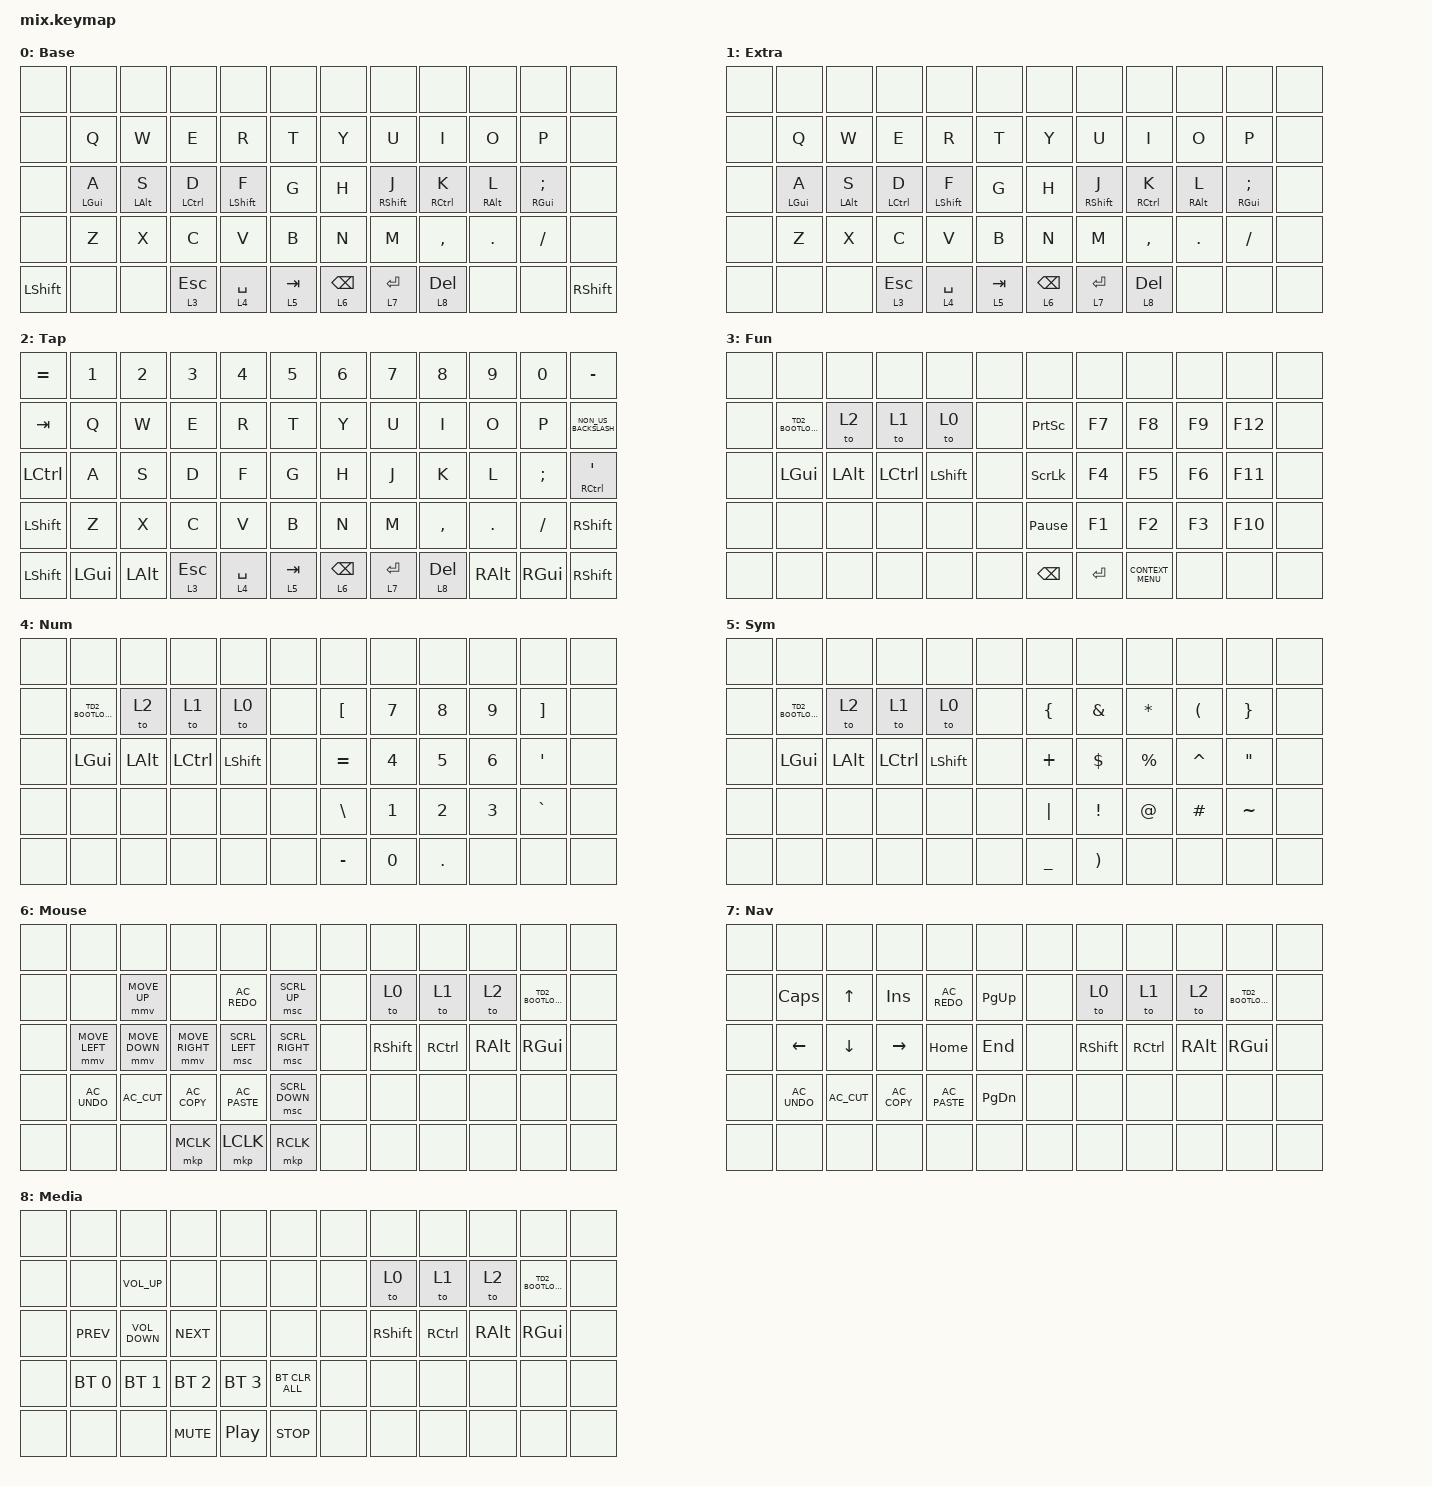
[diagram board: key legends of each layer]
/*
 * Copyright (c) 2020 The ZMK Contributors
 *
 * SPDX-License-Identifier: MIT
 */

#include <behaviors.dtsi>
#include <dt-bindings/zmk/bt.h>
#include <dt-bindings/zmk/keys.h>
#include <dt-bindings/zmk/pointing.h>

#define ZMK_POINTING_DEFAULT_SCRL_VAL 40

/ {
    combos { compatible = "zmk,combos"; };

    behaviors {
        encoder_sc: encoder_sc {
            compatible = "zmk,behavior-sensor-rotate-var";
            label = "ENCODER_SC";
            #sensor-binding-cells = <2>;
            bindings = <&msc>, <&msc>;

            tap-ms = <40>;
        };

        ONLY_HOLD_TAP: ONLY_HOLD_TAP {
            compatible = "zmk,behavior-hold-tap";
            label = "ONLY_HOLD_TAP";
            bindings = <&kp>, <&kp>;

            #binding-cells = <2>;
            tapping-term-ms = <200>;
            flavor = "tap-preferred";
            require-prior-idle-ms = <125>;
            quick-tap-ms = <175>;
        };

        L_HRM: L_HRM {
            compatible = "zmk,behavior-hold-tap";
            label = "L_HRM";
            bindings = <&kp>, <&kp>;

            #binding-cells = <2>;
            tapping-term-ms = <280>;
            quick-tap-ms = <175>;
            require-prior-idle-ms = <150>;
            flavor = "balanced";
            hold-trigger-key-positions = <6 7 8 9 10 11 18 19 20 21 22 23 30 31 32 33 34 35 42 43 44 45 46 47 55 56 57 58 59 54>;
            hold-trigger-on-release;
        };

        R_HRM: R_HRM {
            compatible = "zmk,behavior-hold-tap";
            label = "R_HRM";
            bindings = <&kp>, <&kp>;

            #binding-cells = <2>;
            tapping-term-ms = <280>;
            quick-tap-ms = <175>;
            require-prior-idle-ms = <150>;
            flavor = "balanced";
            hold-trigger-key-positions = <0 1 2 3 4 5 12 13 14 15 16 17 24 25 26 27 28 29 36 37 38 39 40 41 48 49 50 51 52 53>;
            hold-trigger-on-release;
        };

        TD2_BOOTLOADER: TD2_BOOTLOADER {
            compatible = "zmk,behavior-tap-dance";
            label = "TD2_BOOTLOADER";
            #binding-cells = <0>;
            bindings = <&none>, <&bootloader>;
        };
    };

    keymap {
        compatible = "zmk,keymap";

        Base {
            display-name = "Base";
            bindings = <
&none           &none              &none              &none                  &none                &none      &none            &none                 &none                   &none               &none                       &none
&none           &kp Q              &kp W              &kp E                  &kp R                &kp T      &kp Y            &kp U                 &kp I                   &kp O               &kp P                       &none
&none           &L_HRM LEFT_GUI A  &L_HRM LEFT_ALT S  &L_HRM LEFT_CONTROL D  &L_HRM LEFT_SHIFT F  &kp G      &kp H            &R_HRM RIGHT_SHIFT J  &R_HRM RIGHT_CONTROL K  &R_HRM RIGHT_ALT L  &R_HRM RIGHT_GUI SEMICOLON  &none
&none           &kp Z              &kp X              &kp C                  &kp V                &kp B      &kp N            &kp M                 &kp COMMA               &kp DOT             &kp FSLH                    &none
&kp LEFT_SHIFT  &none              &none              &lt 3 ESC              &lt 4 SPACE          &lt 5 TAB  &lt 6 BACKSPACE  &lt 7 ENTER           &lt 8 DELETE            &none               &none                       &kp RIGHT_SHIFT
            >;
        };

        Extra {
            display-name = "Extra";
            bindings = <
&none  &none              &none              &none                  &none                &none      &none            &none                 &none                   &none               &none                       &none
&none  &kp Q              &kp W              &kp E                  &kp R                &kp T      &kp Y            &kp U                 &kp I                   &kp O               &kp P                       &none
&none  &L_HRM LEFT_GUI A  &L_HRM LEFT_ALT S  &L_HRM LEFT_CONTROL D  &L_HRM LEFT_SHIFT F  &kp G      &kp H            &R_HRM RIGHT_SHIFT J  &R_HRM RIGHT_CONTROL K  &R_HRM RIGHT_ALT L  &R_HRM RIGHT_GUI SEMICOLON  &none
&none  &kp Z              &kp X              &kp C                  &kp V                &kp B      &kp N            &kp M                 &kp COMMA               &kp DOT             &kp FSLH                    &none
&none  &none              &none              &lt 3 ESC              &lt 4 SPACE          &lt 5 TAB  &lt 6 BACKSPACE  &lt 7 ENTER           &lt 8 DELETE            &none               &none                       &none
            >;
        };

        Tap {
            display-name = "Tap";
            bindings = <
&kp EQUAL         &kp N1        &kp N2        &kp N3     &kp NUMBER_4  &kp N5     &kp NUMBER_6     &kp N7       &kp N8        &kp N9         &kp N0         &kp MINUS
&kp TAB           &kp Q         &kp W         &kp E      &kp R         &kp T      &kp Y            &kp U        &kp I         &kp O          &kp P          &kp NON_US_BACKSLASH
&kp LEFT_CONTROL  &kp A         &kp S         &kp D      &kp F         &kp G      &kp H            &kp J        &kp K         &kp L          &kp SEMICOLON  &ONLY_HOLD_TAP RIGHT_CONTROL APOS
&kp LSHFT         &kp Z         &kp X         &kp C      &kp V         &kp B      &kp N            &kp M        &kp COMMA     &kp DOT        &kp FSLH       &kp RSHFT
&kp LEFT_SHIFT    &kp LEFT_GUI  &kp LEFT_ALT  &lt 3 ESC  &lt 4 SPACE   &lt 5 TAB  &lt 6 BACKSPACE  &lt 7 ENTER  &lt 8 DELETE  &kp RIGHT_ALT  &kp RIGHT_GUI  &kp RIGHT_SHIFT
            >;
        };

        Fun {
            display-name = "Fun";
            bindings = <
&none  &none            &none         &none             &none           &none  &none            &none      &none               &none   &none    &none
&none  &TD2_BOOTLOADER  &to 2         &to 1             &to 0           &none  &kp PRINTSCREEN  &kp F7     &kp F8              &kp F9  &kp F12  &none
&none  &kp LEFT_GUI     &kp LEFT_ALT  &kp LEFT_CONTROL  &kp LEFT_SHIFT  &none  &kp SCROLLLOCK   &kp F4     &kp F5              &kp F6  &kp F11  &none
&none  &none            &none         &none             &none           &none  &kp PAUSE_BREAK  &kp F1     &kp F2              &kp F3  &kp F10  &none
&none  &none            &none         &none             &none           &none  &kp BACKSPACE    &kp ENTER  &kp K_CONTEXT_MENU  &none   &none    &none
            >;
        };

        Num {
            display-name = "Num";
            bindings = <
&none  &none            &none         &none      &none           &none  &none             &none         &none         &none         &none              &none
&none  &TD2_BOOTLOADER  &to 2         &to 1      &to 0           &none  &kp LEFT_BRACKET  &kp NUMBER_7  &kp NUMBER_8  &kp NUMBER_9  &kp RIGHT_BRACKET  &none
&none  &kp LEFT_GUI     &kp LEFT_ALT  &kp LCTRL  &kp LEFT_SHIFT  &none  &kp EQUAL         &kp NUMBER_4  &kp NUMBER_5  &kp NUMBER_6  &kp SQT            &none
&none  &none            &none         &none      &none           &none  &kp BACKSLASH     &kp NUMBER_1  &kp NUMBER_2  &kp NUMBER_3  &kp GRAVE          &none
&none  &none            &none         &none      &none           &none  &kp MINUS         &kp NUMBER_0  &kp DOT       &none         &none              &none
            >;
        };

        Sym {
            display-name = "Sym";
            bindings = <
&none  &none            &none         &none      &none           &none  &none           &none                  &none         &none                 &none              &none
&none  &TD2_BOOTLOADER  &to 2         &to 1      &to 0           &none  &kp LEFT_BRACE  &kp AMPERSAND          &kp ASTERISK  &kp LEFT_PARENTHESIS  &kp RIGHT_BRACE    &none
&none  &kp LEFT_GUI     &kp LEFT_ALT  &kp LCTRL  &kp LEFT_SHIFT  &none  &kp PLUS        &kp DOLLAR             &kp PERCENT   &kp CARET             &kp DOUBLE_QUOTES  &none
&none  &none            &none         &none      &none           &none  &kp PIPE        &kp EXCLAMATION        &kp AT_SIGN   &kp HASH              &kp TILDE          &none
&none  &none            &none         &none      &none           &none  &kp UNDERSCORE  &kp RIGHT_PARENTHESIS  &none         &none                 &none              &none
            >;
        };

        Mouse {
            display-name = "Mouse";
            bindings = <
&none  &none           &none           &none            &none           &none            &none  &none            &none      &none          &none            &none
&none  &none           &mmv MOVE_UP    &none            &kp C_AC_REDO   &msc SCRL_UP     &none  &to 0            &to 1      &to 2          &TD2_BOOTLOADER  &none
&none  &mmv MOVE_LEFT  &mmv MOVE_DOWN  &mmv MOVE_RIGHT  &msc SCRL_LEFT  &msc SCRL_RIGHT  &none  &kp RIGHT_SHIFT  &kp RCTRL  &kp RIGHT_ALT  &kp RIGHT_GUI    &none
&none  &kp C_AC_UNDO   &kp C_AC_CUT    &kp C_AC_COPY    &kp C_AC_PASTE  &msc SCRL_DOWN   &none  &none            &none      &none          &none            &none
&none  &none           &none           &mkp MCLK        &mkp LCLK       &mkp RCLK        &none  &none            &none      &none          &none            &none
            >;
        };

        Nav {
            display-name = "Nav";
            bindings = <
&none  &none           &none           &none          &none           &none          &none  &none            &none      &none          &none            &none
&none  &kp CAPSLOCK    &kp UP_ARROW    &kp INSERT     &kp C_AC_REDO   &kp PAGE_UP    &none  &to 0            &to 1      &to 2          &TD2_BOOTLOADER  &none
&none  &kp LEFT_ARROW  &kp DOWN_ARROW  &kp RIGHT      &kp HOME        &kp END        &none  &kp RIGHT_SHIFT  &kp RCTRL  &kp RIGHT_ALT  &kp RIGHT_GUI    &none
&none  &kp C_AC_UNDO   &kp C_AC_CUT    &kp C_AC_COPY  &kp C_AC_PASTE  &kp PAGE_DOWN  &none  &none            &none      &none          &none            &none
&none  &none           &none           &none          &none           &none          &none  &none            &none      &none          &none            &none
            >;
        };

        Media {
            display-name = "Media";
            bindings = <
&none  &none         &none              &none         &none         &none           &none  &none            &none      &none          &none            &none
&none  &none         &kp C_VOLUME_UP    &none         &none         &none           &none  &to 0            &to 1      &to 2          &TD2_BOOTLOADER  &none
&none  &kp C_PREV    &kp C_VOLUME_DOWN  &kp C_NEXT    &none         &none           &none  &kp RIGHT_SHIFT  &kp RCTRL  &kp RIGHT_ALT  &kp RIGHT_GUI    &none
&none  &bt BT_SEL 0  &bt BT_SEL 1       &bt BT_SEL 2  &bt BT_SEL 3  &bt BT_CLR_ALL  &none  &none            &none      &none          &none            &none
&none  &none         &none              &kp C_MUTE    &kp C_PP      &kp C_STOP      &none  &none            &none      &none          &none            &none
            >;
        };
    };
};
